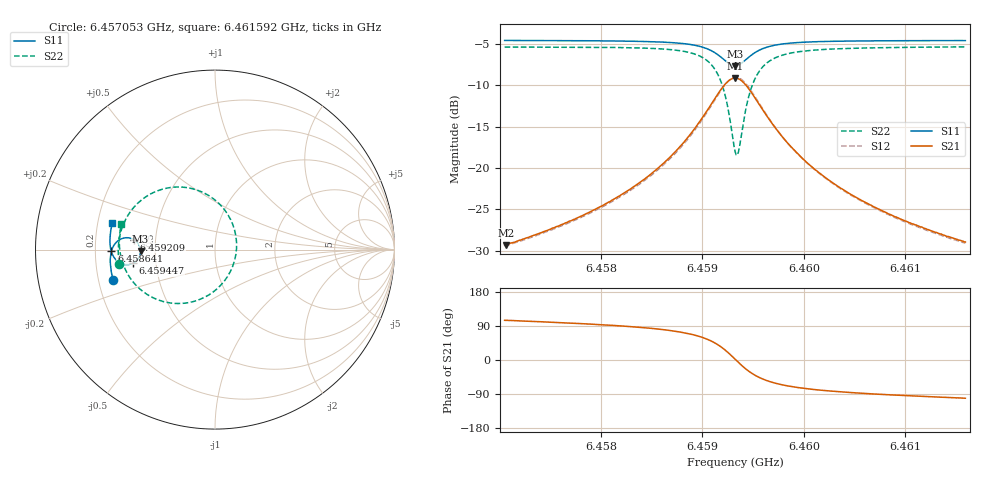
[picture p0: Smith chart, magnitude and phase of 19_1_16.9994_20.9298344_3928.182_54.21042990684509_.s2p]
#  HZ  S  RI  R  50.00
! Rohde & Schwarz Vector Network Analyzer
! Rohde-Schwarz,ZNB20-2Port,1311601062101988,3.16
! Created: UTC 3/20/2024, 10:52:54 PM
! freq[Hz]  re:S11  im:S11  re:S21  im:S21  re:S12  im:S12  re:S22  im:S22
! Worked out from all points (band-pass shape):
!   401 points, 6.457053 GHz to 6.461592 GHz, reference 50 ohm
!   highest |S21| = -9.11 dB at 6.459322 GHz (marker M1); lowest = -29.3 dB at 6.457064 GHz (marker M2)
!   |S21| within 3 dB of the highest: 6.459097 GHz to 6.459551 GHz (453.6 kHz wide, 0.00702 % of centre)
!   lowest |S11| = -7.6 dB at 6.459322 GHz (marker M3), VSWR 2.42, Z = 20.7 - j0.397 ohm
!   |S11| at or under -10 dB: nowhere
!   |S22| runs from -18.4 to -5.3 dB; largest |S21 - S12| = 0.014
!   S11 on the Smith chart (normalised r, x): 6.457053 GHz: 0.26, -0.14; 6.458641 GHz: 0.27, -0.01; 6.459209 GHz: 0.38, +0.05; 6.459447 GHz: 0.37, -0.07; 6.461592 GHz: 0.26, +0.12
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6.4570525e9  -0.5675 -0.1681  -0.00871 0.0331  -0.00689 0.0329  -0.5344 -0.0776
6.4570639e9  -0.5678 -0.1671  -0.00859 0.0331  -0.00699 0.033  -0.5346 -0.0763
6.4578129e9  -0.581 -0.1012  -0.0052 0.051  -0.0027 0.0505  -0.5386 0.0122
6.4582328e9  -0.5834 -0.0589  0.000958 0.0709  0.0041 0.0692  -0.5296 0.0795
6.4585733e9  -0.5795 -0.0179  0.0151 0.0998  0.019 0.0969  -0.5033 0.1571
6.4586414e9  -0.5772 -0.00839  0.0205 0.1083  0.0245 0.105  -0.4931 0.1771
6.4588343e9  -0.5643 0.0221  0.0474 0.1392  0.0514 0.1342  -0.4425 0.2462
6.4589818e9  -0.5415 0.0485  0.0931 0.1698  0.0961 0.1631  -0.3582 0.3104
6.459118e9  -0.4972 0.0661  0.1807 0.1865  0.1815 0.1793  -0.1981 0.3487
6.4592088e9  -0.4521 0.0557  0.2714 0.1554  0.2714 0.1498  -0.0305 0.2985
6.4592769e9  -0.4224 0.0236  0.333 0.0831  0.3351 0.0783  0.0866 0.1684
6.4593223e9  -0.415 -0.00795  0.3501 0.0145  0.3539 0.00807  0.12 0.0399
6.4593563e9  -0.4187 -0.0321  0.3447 -0.0388  0.3488 -0.0475  0.109 -0.0612
6.4594017e9  -0.4343 -0.0588  0.3159 -0.1  0.3185 -0.1116  0.0511 -0.1766
6.4594471e9  -0.4566 -0.0758  0.2732 -0.1422  0.2727 -0.1552  -0.0355 -0.2532
6.4595379e9  -0.5008 -0.0833  0.1868 -0.1738  0.1808 -0.1855  -0.2077 -0.3004
6.4596855e9  -0.5456 -0.0628  0.0972 -0.1596  0.0887 -0.1659  -0.3786 -0.2496
6.4598443e9  -0.5675 -0.0351  0.0516 -0.1309  0.044 -0.1338  -0.4597 -0.1759
6.4600827e9  -0.5806 0.00064  0.0221 -0.0987  0.0163 -0.0992  -0.508 -0.0922
6.4604458e9  -0.5851 0.0438  0.00553 -0.07  0.00146 -0.0695  -0.5298 -0.00816
6.460843e9  -0.5833 0.0839  -0.00155 -0.0525  -0.00459 -0.0517  -0.5331 0.0558
6.4615921e9  -0.5712 0.1505  -0.00674 -0.035  -0.00849 -0.034  -0.5215 0.1452
